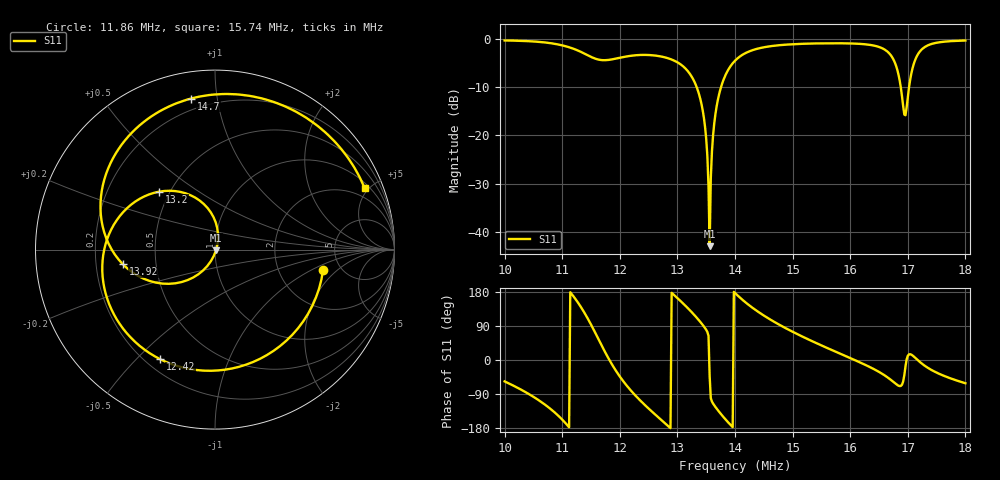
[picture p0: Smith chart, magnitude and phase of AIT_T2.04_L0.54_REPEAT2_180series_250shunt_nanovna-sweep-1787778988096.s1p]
! NanoVNA Web complex sweep
! Processing: original sample grid, no browser smoothing
# Hz S RI R 50
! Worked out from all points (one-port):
!   401 points, 10 MHz to 18 MHz, reference 50 ohm
!   lowest |S11| = -43.0 dB at 13.56 MHz (marker M1), VSWR 1.01, Z = 50.5 - j0.485 ohm
!   |S11| at or under -10 dB: 13.33 MHz to 13.76 MHz (423.4 kHz wide, 3.13 % of centre); 16.88 MHz to 17.02 MHz (144.4 kHz wide, 0.852 % of centre)
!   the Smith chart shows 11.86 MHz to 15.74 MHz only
!   S11 on the Smith chart (normalised r, x): 11.86 MHz: 3.65, -1.32; 12.42 MHz: 0.26, -0.59; 13.2 MHz: 0.44, +0.35; 13.92 MHz: 0.32, -0.07; 14.7 MHz: 0.14, +0.84; 15.74 MHz: 1.29, +4.72
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1e7  0.5326 -0.8031
1.056e7  -0.2092 -0.9117
1.1e7  -0.7904 -0.3315
1.124e7  -0.72 0.2788
1.146e7  -0.1713 0.6463
1.168e7  0.4638 0.3859
1.186e7  0.6022 -0.113
1.2e7  0.4622 -0.4388
1.242e7  -0.3056 -0.6104
1.272e7  -0.6096 -0.2433
1.3e7  -0.548 0.163
1.32e7  -0.3103 0.323
1.342e7  -0.0232 0.2072
1.356e7  0.00521 -0.0048
1.37e7  -0.1536 -0.1702
1.392e7  -0.5127 -0.0822
1.4e7  -0.5928 0.0329
1.428e7  -0.5825 0.4808
1.47e7  -0.1333 0.8416
1.5e7  0.2347 0.8483
1.574e7  0.8336 0.3427
1.6e7  0.8933 0.0813
1.668e7  0.4597 -0.5358
1.688e7  0.1144 -0.2881
1.7e7  0.2442 0.0475
1.712e7  0.583 0.0725
1.732e7  0.8003 -0.2583
1.8e7  0.4605 -0.8445
